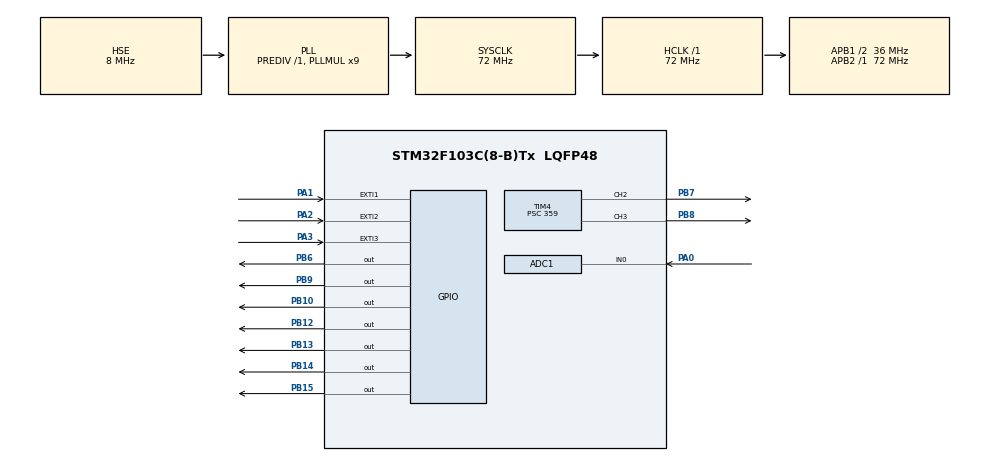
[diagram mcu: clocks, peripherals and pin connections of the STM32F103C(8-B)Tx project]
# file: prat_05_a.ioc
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ADC1.Channel-0\#ChannelRegularConversion=ADC_CHANNEL_0
ADC1.NbrOfConversionFlag=1
ADC1.Rank-0\#ChannelRegularConversion=1
ADC1.SamplingTime-0\#ChannelRegularConversion=ADC_SAMPLETIME_1CYCLE_5
ADC1.master=1
Mcu.Family=STM32F1
Mcu.Name=STM32F103C(8-B)Tx
Mcu.Package=LQFP48
NVIC.ADC1_2_IRQn=true\:0\:0\:false\:true\:true\:4\:true\:true
NVIC.EXTI1_IRQn=true\:0\:0\:false\:true\:true\:3\:true\:true
NVIC.EXTI2_IRQn=true\:0\:0\:false\:true\:true\:2\:true\:true
NVIC.EXTI3_IRQn=true\:0\:0\:false\:true\:true\:1\:true\:true
NVIC.PriorityGroup=NVIC_PRIORITYGROUP_4
NVIC.TIM4_IRQn=true\:0\:0\:false\:false\:true\:true\:true
PA0-WKUP.Signal=ADCx_IN0
PA1.GPIO_ModeDefaultEXTI=GPIO_MODE_IT_FALLING
PA1.Signal=GPXTI1
PA13.Mode=Serial_Wire
PA13.Signal=SYS_JTMS-SWDIO
PA14.Mode=Serial_Wire
PA14.Signal=SYS_JTCK-SWCLK
PA2.GPIO_ModeDefaultEXTI=GPIO_MODE_IT_FALLING
PA2.Signal=GPXTI2
PA3.GPIO_ModeDefaultEXTI=GPIO_MODE_IT_FALLING
PA3.Signal=GPXTI3
PB10.Signal=GPIO_Output
PB12.Signal=GPIO_Output
PB13.Signal=GPIO_Output
PB14.Signal=GPIO_Output
PB15.Signal=GPIO_Output
PB6.Signal=GPIO_Output
PB7.Signal=S_TIM4_CH2
PB8.Signal=S_TIM4_CH3
PB9.Signal=GPIO_Output
PD0-OSC_IN.Mode=HSE-External-Oscillator
PD0-OSC_IN.Signal=RCC_OSC_IN
PD1-OSC_OUT.Mode=HSE-External-Oscillator
PD1-OSC_OUT.Signal=RCC_OSC_OUT
ProjectManager.HeapSize=0x200
ProjectManager.StackSize=0x400
ProjectManager.TargetToolchain=STM32CubeIDE
RCC.ADCPresc=RCC_ADCPCLK2_DIV6
RCC.AHBFreq_Value=72000000
RCC.APB1CLKDivider=RCC_HCLK_DIV2
RCC.APB1Freq_Value=36000000
RCC.APB1TimFreq_Value=72000000
RCC.APB2Freq_Value=72000000
RCC.APB2TimFreq_Value=72000000
RCC.HCLKFreq_Value=72000000
RCC.PLLMUL=RCC_PLL_MUL9
RCC.PLLSourceVirtual=RCC_PLLSOURCE_HSE
RCC.SYSCLKFreq_VALUE=72000000
RCC.SYSCLKSource=RCC_SYSCLKSOURCE_PLLCLK
RCC.USBFreq_Value=72000000
SH.ADCx_IN0.0=ADC1_IN0,IN0
SH.S_TIM4_CH2.0=TIM4_CH2,PWM Generation2 CH2
SH.S_TIM4_CH3.0=TIM4_CH3,PWM Generation3 CH3
TIM4.Channel-PWM\ Generation2\ CH2=TIM_CHANNEL_2
TIM4.Channel-PWM\ Generation3\ CH3=TIM_CHANNEL_3
TIM4.Period=99
TIM4.Prescaler=359
VP_TIM4_VS_ClockSourceINT.Mode=Internal
board=custom

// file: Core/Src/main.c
/* USER CODE BEGIN Header */
/**
  ******************************************************************************
  * @file           : main.c
  * @brief          : Main program body
  ******************************************************************************
  * @attention
  *
  * <h2><center>&copy; Copyright (c) 2021 STMicroelectronics.
  * All rights reserved.</center></h2>
  *
  * This software component is licensed by ST under BSD 3-Clause license,
  * the "License"; You may not use this file except in compliance with the
  * License. You may obtain a copy of the License at:
  *                        opensource.org/licenses/BSD-3-Clause
  *
  ******************************************************************************
  */
/* USER CODE END Header */
#include "main.h"

/* USER CODE BEGIN Includes */
#include "mx_prat_05_funcoes.h"   // header do arqv das funcoes do programa
/* USER CODE END Includes */

/* USER CODE BEGIN PD */
#define DT_VARRE  5             // inc varredura a cada 5 ms (~200 Hz)
#define DIGITO_APAGADO 0x10     // kte valor p/ apagar um dígito no display
#define PR 80                	// delta t (ms) para piscar o led
/* USER CODE END PD */

ADC_HandleTypeDef hadc1;

TIM_HandleTypeDef htim4;

/* USER CODE BEGIN PV */
volatile uint32_t lpa1 = 0x0;
volatile uint32_t miliVolt = 0x0;  // val adc convertido p/ miliVolts
volatile int16_t val_adc = 0;                 // var global: valor lido no ADC

/* USER CODE END PV */

void SystemClock_Config(void);
static void MX_GPIO_Init(void);
static void MX_TIM4_Init(void);
static void MX_ADC1_Init(void);
static void MX_NVIC_Init(void);
// funcoes do arquivo stm32f1xx_it.c
void set_modo_oper(int);             // seta modo_oper (no stm32f1xx_it.c)
int get_modo_oper(void);             // obtém modo_oper (stm32f1xx_it.c)
// funcoes do arquivo prat_05_funcoes.c
void reset_pin_GPIOs (void);         // reset pinos da SPI
void serializar(int ser_data);       // prot fn serializa dados p/ 74HC595
int16_t conv_7_seg(int NumHex);      // prot fn conv valor --> 7-seg

int main(void)
{
  /* USER CODE BEGIN 1 */
  // vars e flags de controle do programa no superloop...
  int milADC = 0,                      // ini milesimo
	  cenADC = 0,                      // ini unidade
	  dezADC = 0,                      // ini dezena
	  uniADC = 0;                      // ini unidade
  int16_t val7seg = 0x00FF,            // inicia 7-seg com 0xF (tudo apagado)
	  serial_data = 0x01FF;            // dado a serializar (dig | val7seg)
  uint32_t tIN_varre = 0;              // registra tempo última varredura

  /* USER CODE END 1 */

  /* MCU Configuration--------------------------------------------------------*/

  /* Reset of all peripherals, Initializes the Flash interface and the Systick. */
  HAL_Init();

  /* Configure the system clock */
  SystemClock_Config();

  /* Initialize all configured peripherals */
  MX_GPIO_Init();
  MX_TIM4_Init();
  MX_ADC1_Init();

  /* Initialize interrupts */
  MX_NVIC_Init();

  /* USER CODE BEGIN 2 */
  // inicializa a SPI (pinos 6,9,10 da GPIOB)
  reset_pin_GPIOs ();

  // para controlar vars tempos de entrada na rotina ON/OFF de cada LED
  uint32_t tin_PA1=0, dt_PA1=PR;

  // var de estado que controla a varredura (qual display é mostrado)
  static enum {DIG_UNI, DIG_DEC, DIG_CENS, DIG_MILS} sttVARRE=DIG_UNI;
  static enum {INI_PA1, LIG_PA1, DSLG_PA1} sttPA1=INI_PA1; // var estados de PA1

	// estrutura de dados para programar pedido de interrupção por software
EXTI_HandleTypeDef hexti_1 = {};
hexti_1.Line = EXTI_LINE_1;

  /* USER CODE END 2 */

  /* Infinite loop */
  while (1)
  {

	  /* USER CODE BEGIN 3 */
	  while (1)
	  {
	    /* USER CODE END WHILE */
		  // tarefa #1: se (modo_oper=1) faz uma conversão ADC
		  	if (get_modo_oper()==1)
		  	{
		  	  // dispara por software uma conversão ADC
		  	  set_modo_oper(0);            // muda modo_oper p/ 0
		  	  HAL_ADC_Start_IT(&hadc1);    // dispara ADC p/ conversão por IRQ
		  	}

		  //tarefa #2: depois do IRQ ADC, converte para mVs (decimal, p/ 7-seg)
		      if (get_modo_oper()==2)      // entra qdo valor val_adc atualizado
		      {
		        // converter o valor lido em decimais p/ display
			    set_modo_oper(0);          // zera var modo_oper
		    	miliVolt = val_adc*3300/4095;
		        uniADC = miliVolt/1000;
		        dezADC = (miliVolt-(uniADC*1000))/100;
		        cenADC = (miliVolt-(uniADC*1000)-(dezADC*100))/10;
		        milADC = miliVolt-(uniADC*1000)-(dezADC*100)-(cenADC*10);
		      }

		  // tarefa #3: qdo milis() > DELAY_VARRE ms, desde a última mudança
		    if ((HAL_GetTick()-tIN_varre) > DT_VARRE)    // se ++0,1s atualiza o display
		    {
		  	tIN_varre = HAL_GetTick();         // salva tIN p/ prox tempo varredura
		  	switch(sttVARRE)                   // teste e escolha de qual DIG vai varrer
		  	{
		  	  case DIG_MILS:
		  	  {
		  		sttVARRE = DIG_CENS;           // ajusta p/ prox digito
		  		serial_data = 0x0008;          // display #1
		  		val7seg = conv_7_seg(milADC);
		  		break;
		  	  }
		  	  case DIG_CENS:
		  	  {
		  		sttVARRE = DIG_DEC;            // ajusta p/ prox digito
		  		serial_data = 0x00004;         // display #2
		  		if(cenADC>0 || dezADC>0 || uniADC>0)
		  		{
		  		  val7seg = conv_7_seg(cenADC);
		  		} else {
		  		  val7seg = conv_7_seg(DIGITO_APAGADO);
		  		}
		  		break;
		  	  }
		  	  case DIG_DEC:
		  	  {
		  		sttVARRE = DIG_UNI;            // ajusta p/ prox digito
		  		serial_data = 0x0002;          // display #3
		  		if(dezADC>0 || uniADC>0)
		  		{
		  		  val7seg = conv_7_seg(dezADC);
		  		} else {
		  		  val7seg = conv_7_seg(DIGITO_APAGADO);
		  		}
		  		break;
		  	  }
		  	  case DIG_UNI:
		  	  {
		  		sttVARRE = DIG_MILS;           // ajusta p/ prox digito
		  		serial_data = 0x0001;          // display #3
		  		if(uniADC>0)
		  		{
		  		  val7seg = conv_7_seg(uniADC);
		  		  val7seg &=0x7FFF;            // liga o ponto decimal
		  		} else {
		  		  val7seg = conv_7_seg(DIGITO_APAGADO);
		  		}
		  		break;
		  	  }
		  	}  // fim case
		    tIN_varre = HAL_GetTick();           // tmp atual em que fez essa varredura
		    serial_data |= val7seg;              // OR com val7seg = dado a serializar
		    serializar(serial_data);             // serializa dado p/74HC595 (shift reg)
		    }  // -- fim da tarefa #3 - varredura do display

		 // --- tarefa #4 - controlar IRQ, com interrupção gerada por software
		  switch (sttPA1)
		  {
		  case INI_PA1:                    // vai iniciar a máquina de estado
			sttPA1 = LIG_PA1;              // prox estado da máquina
			break;
		  case LIG_PA1:                    // estado p/ gerar INT_EXT_1
			if((HAL_GetTick()-tin_PA1)>dt_PA1) // se HAL_GetTick()-tin_PA1 > dt_PA1
			{
			  tin_PA1 = HAL_GetTick();     // guarda tempo p/ prox mudança estado
			  if (lpa1 == 1) {
				sttPA1 = DSLG_PA1;             // muda o prox estado da máquina
				//HAL_EXTI_ClearPending(&hexti_1, EXTI_TRIGGER_FALLING);
				HAL_EXTI_GenerateSWI(&hexti_1);  // pedido de int por software
				HAL_GPIO_WritePin(GPIOC, GPIO_PIN_13, GPIO_PIN_RESET); // ligar led
				lpa1=0;                    // volta lpa1 para desativada
			  }
			}
			break;
		  case DSLG_PA1:                   // estado para desligar o LED
			if((HAL_GetTick()-tin_PA1)>dt_PA1) // se HAL_GetTick()-tin_PA1 > dt_PA1
			{
			  tin_PA1 = HAL_GetTick();     // guarda tempo p/ prox mudança estado
			  HAL_GPIO_WritePin(GPIOC, GPIO_PIN_13, GPIO_PIN_SET); // ligar led
			  sttPA1 = LIG_PA1;            // muda o prox estado da máquina
			}
			break;
		  };
	  }
	  /* USER CODE END 3 */
}}

void SystemClock_Config(void)
{
  RCC_OscInitTypeDef RCC_OscInitStruct = {0};
  RCC_ClkInitTypeDef RCC_ClkInitStruct = {0};
  RCC_PeriphCLKInitTypeDef PeriphClkInit = {0};

  /** Initializes the RCC Oscillators according to the specified parameters
  * in the RCC_OscInitTypeDef structure.
  */
  RCC_OscInitStruct.OscillatorType = RCC_OSCILLATORTYPE_HSE;
  RCC_OscInitStruct.HSEState = RCC_HSE_ON;
  RCC_OscInitStruct.HSEPredivValue = RCC_HSE_PREDIV_DIV1;
  RCC_OscInitStruct.HSIState = RCC_HSI_ON;
  RCC_OscInitStruct.PLL.PLLState = RCC_PLL_ON;
  RCC_OscInitStruct.PLL.PLLSource = RCC_PLLSOURCE_HSE;
  RCC_OscInitStruct.PLL.PLLMUL = RCC_PLL_MUL9;
  if (HAL_RCC_OscConfig(&RCC_OscInitStruct) != HAL_OK)
  {
    Error_Handler();
  }
  /** Initializes the CPU, AHB and APB buses clocks
  */
  RCC_ClkInitStruct.ClockType = RCC_CLOCKTYPE_HCLK|RCC_CLOCKTYPE_SYSCLK
                              |RCC_CLOCKTYPE_PCLK1|RCC_CLOCKTYPE_PCLK2;
  RCC_ClkInitStruct.SYSCLKSource = RCC_SYSCLKSOURCE_PLLCLK;
  RCC_ClkInitStruct.AHBCLKDivider = RCC_SYSCLK_DIV1;
  RCC_ClkInitStruct.APB1CLKDivider = RCC_HCLK_DIV2;
  RCC_ClkInitStruct.APB2CLKDivider = RCC_HCLK_DIV1;

  if (HAL_RCC_ClockConfig(&RCC_ClkInitStruct, FLASH_LATENCY_2) != HAL_OK)
  {
    Error_Handler();
  }
  PeriphClkInit.PeriphClockSelection = RCC_PERIPHCLK_ADC;
  PeriphClkInit.AdcClockSelection = RCC_ADCPCLK2_DIV6;
  if (HAL_RCCEx_PeriphCLKConfig(&PeriphClkInit) != HAL_OK)
  {
    Error_Handler();
  }
}

/**
  * @brief NVIC Configuration.
  * @retval None
  */
static void MX_NVIC_Init(void)
{
  /* EXTI3_IRQn interrupt configuration */
  HAL_NVIC_SetPriority(EXTI3_IRQn, 0, 0);
  HAL_NVIC_EnableIRQ(EXTI3_IRQn);
  /* EXTI2_IRQn interrupt configuration */
  HAL_NVIC_SetPriority(EXTI2_IRQn, 0, 0);
  HAL_NVIC_EnableIRQ(EXTI2_IRQn);
  /* EXTI1_IRQn interrupt configuration */
  HAL_NVIC_SetPriority(EXTI1_IRQn, 0, 0);
  HAL_NVIC_EnableIRQ(EXTI1_IRQn);
  /* ADC1_2_IRQn interrupt configuration */
  HAL_NVIC_SetPriority(ADC1_2_IRQn, 0, 0);
  HAL_NVIC_EnableIRQ(ADC1_2_IRQn);
}

static void MX_ADC1_Init(void)
{

  ADC_ChannelConfTypeDef sConfig = {0};

  /** Common config
  */
  hadc1.Instance = ADC1;
  hadc1.Init.ScanConvMode = ADC_SCAN_DISABLE;
  hadc1.Init.ContinuousConvMode = DISABLE;
  hadc1.Init.DiscontinuousConvMode = DISABLE;
  hadc1.Init.ExternalTrigConv = ADC_SOFTWARE_START;
  hadc1.Init.DataAlign = ADC_DATAALIGN_RIGHT;
  hadc1.Init.NbrOfConversion = 1;
  if (HAL_ADC_Init(&hadc1) != HAL_OK)
  {
    Error_Handler();
  }
  /** Configure Regular Channel
  */
  sConfig.Channel = ADC_CHANNEL_0;
  sConfig.Rank = ADC_REGULAR_RANK_1;
  sConfig.SamplingTime = ADC_SAMPLETIME_1CYCLE_5;
  if (HAL_ADC_ConfigChannel(&hadc1, &sConfig) != HAL_OK)
  {
    Error_Handler();
  }

}

static void MX_TIM4_Init(void)
{

  TIM_ClockConfigTypeDef sClockSourceConfig = {0};
  TIM_MasterConfigTypeDef sMasterConfig = {0};
  TIM_OC_InitTypeDef sConfigOC = {0};

  htim4.Instance = TIM4;
  htim4.Init.Prescaler = 359;
  htim4.Init.CounterMode = TIM_COUNTERMODE_UP;
  htim4.Init.Period = 99;
  htim4.Init.ClockDivision = TIM_CLOCKDIVISION_DIV1;
  htim4.Init.AutoReloadPreload = TIM_AUTORELOAD_PRELOAD_DISABLE;
  if (HAL_TIM_Base_Init(&htim4) != HAL_OK)
  {
    Error_Handler();
  }
  sClockSourceConfig.ClockSource = TIM_CLOCKSOURCE_INTERNAL;
  if (HAL_TIM_ConfigClockSource(&htim4, &sClockSourceConfig) != HAL_OK)
  {
    Error_Handler();
  }
  if (HAL_TIM_PWM_Init(&htim4) != HAL_OK)
  {
    Error_Handler();
  }
  sMasterConfig.MasterOutputTrigger = TIM_TRGO_RESET;
  sMasterConfig.MasterSlaveMode = TIM_MASTERSLAVEMODE_DISABLE;
  if (HAL_TIMEx_MasterConfigSynchronization(&htim4, &sMasterConfig) != HAL_OK)
  {
    Error_Handler();
  }
  sConfigOC.OCMode = TIM_OCMODE_PWM1;
  sConfigOC.Pulse = 0;
  sConfigOC.OCPolarity = TIM_OCPOLARITY_HIGH;
  sConfigOC.OCFastMode = TIM_OCFAST_DISABLE;
  if (HAL_TIM_PWM_ConfigChannel(&htim4, &sConfigOC, TIM_CHANNEL_2) != HAL_OK)
  {
    Error_Handler();
  }
  if (HAL_TIM_PWM_ConfigChannel(&htim4, &sConfigOC, TIM_CHANNEL_3) != HAL_OK)
  {
    Error_Handler();
  }
  HAL_TIM_MspPostInit(&htim4);

}

static void MX_GPIO_Init(void)
{
  GPIO_InitTypeDef GPIO_InitStruct = {0};

  /* GPIO Ports Clock Enable */
  __HAL_RCC_GPIOD_CLK_ENABLE();
  __HAL_RCC_GPIOA_CLK_ENABLE();
  __HAL_RCC_GPIOB_CLK_ENABLE();

  /*Configure GPIO pin Output Level */
  HAL_GPIO_WritePin(GPIOB, GPIO_PIN_10|GPIO_PIN_12|GPIO_PIN_13|GPIO_PIN_14
                          |GPIO_PIN_15|GPIO_PIN_6|GPIO_PIN_9, GPIO_PIN_RESET);

  /*Configure GPIO pins : PA1 PA2 PA3 */
  GPIO_InitStruct.Pin = GPIO_PIN_1|GPIO_PIN_2|GPIO_PIN_3;
  GPIO_InitStruct.Mode = GPIO_MODE_IT_FALLING;
  GPIO_InitStruct.Pull = GPIO_NOPULL;
  HAL_GPIO_Init(GPIOA, &GPIO_InitStruct);

  /*Configure GPIO pins : PB10 PB12 PB13 PB14
                           PB15 PB6 PB9 */
  GPIO_InitStruct.Pin = GPIO_PIN_10|GPIO_PIN_12|GPIO_PIN_13|GPIO_PIN_14
                          |GPIO_PIN_15|GPIO_PIN_6|GPIO_PIN_9;
  GPIO_InitStruct.Mode = GPIO_MODE_OUTPUT_PP;
  GPIO_InitStruct.Pull = GPIO_NOPULL;
  GPIO_InitStruct.Speed = GPIO_SPEED_FREQ_LOW;
  HAL_GPIO_Init(GPIOB, &GPIO_InitStruct);

}

/* USER CODE BEGIN 4 */
// fn que atende ao callback da ISR do conversor ADC1
void HAL_ADC_ConvCpltCallback(ADC_HandleTypeDef* hadc)
  {
    if(hadc->Instance == ADC1)
    {
      val_adc = HAL_ADC_GetValue(&hadc1);  // capta valor adc
      set_modo_oper(2); ;                  // alterou valor lido
    }
  }

/* USER CODE END 4 */

void Error_Handler(void)
{
  __disable_irq();
  while (1)
  {
  }
}

/************************ (C) COPYRIGHT STMicroelectronics *****END OF FILE****/
